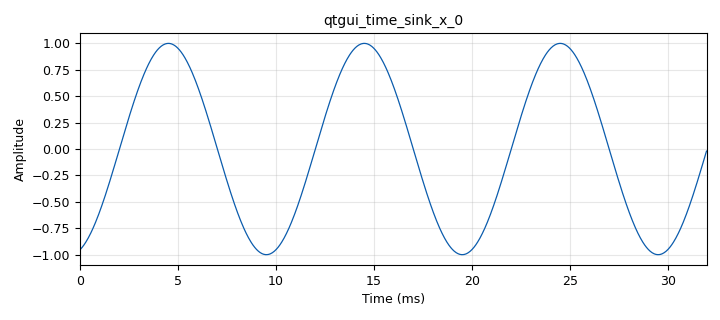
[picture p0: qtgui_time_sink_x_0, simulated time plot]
<?xml version='1.0' encoding='utf-8'?>
<?grc format='1' created='3.7.9'?>
<flow_graph>
<block>
<key>options</key>
<param><key>id</key><value>if_else</value></param>
<param><key>category</key><value>Custom</value></param>
<param><key>generate_options</key><value>qt_gui</value></param>
</block>
<block>
<key>variable_qtgui_entry</key>
<param><key>id</key><value>Ampl</value></param>
<param><key>value</key><value>1</value></param>
<param><key>type</key><value>real</value></param>
</block>
<block>
<key>variable_qtgui_entry</key>
<param><key>id</key><value>Freq</value></param>
<param><key>value</key><value>100</value></param>
<param><key>type</key><value>real</value></param>
</block>
<block>
<key>variable</key>
<param><key>id</key><value>samp_rate</value></param>
<param><key>value</key><value>32000</value></param>
</block>
<block>
<key>variable_function_probe</key>
<param><key>id</key><value>variable_function_probe_0</value></param>
<param><key>block_id</key><value>probe</value></param>
<param><key>function_name</key><value>level</value></param>
<param><key>poll_rate</key><value>10</value></param>
<param><key>value</key><value>0</value></param>
</block>
<block>
<key>analog_sig_source_x</key>
<param><key>id</key><value>analog_sig_source_x_0</value></param>
<param><key>amp</key><value>1</value></param>
<param><key>freq</key><value>0.1</value></param>
<param><key>offset</key><value>0</value></param>
<param><key>type</key><value>float</value></param>
<param><key>samp_rate</key><value>samp_rate</value></param>
<param><key>waveform</key><value>analog.GR_SQR_WAVE</value></param>
</block>
<block>
<key>analog_sig_source_x</key>
<param><key>id</key><value>analog_sig_source_x_1</value></param>
<param><key>amp</key><value>Ampl</value></param>
<param><key>freq</key><value>Freq</value></param>
<param><key>offset</key><value>0</value></param>
<param><key>type</key><value>float</value></param>
<param><key>samp_rate</key><value>samp_rate</value></param>
<param><key>waveform</key><value>analog.GR_SIN_WAVE</value></param>
</block>
<block>
<key>blocks_throttle</key>
<param><key>id</key><value>blocks_throttle_0</value></param>
<param><key>samples_per_second</key><value>samp_rate</value></param>
<param><key>type</key><value>float</value></param>
</block>
<block>
<key>blocks_probe_signal_x</key>
<param><key>id</key><value>probe</value></param>
<param><key>type</key><value>float</value></param>
</block>
<block>
<key>qtgui_time_sink_x</key>
<param><key>id</key><value>qtgui_time_sink_x_0</value></param>
<param><key>autoscale</key><value>True</value></param>
<param><key>grid</key><value>True</value></param>
<param><key>color1</key><value>"blue"</value></param>
<param><key>label1</key><value></value></param>
<param><key>size</key><value>1024</value></param>
<param><key>srate</key><value>samp_rate</value></param>
<param><key>type</key><value>float</value></param>
</block>
<connection><source_block_id>analog_sig_source_x_0</source_block_id><sink_block_id>blocks_throttle_0</sink_block_id><source_key>0</source_key><sink_key>0</sink_key></connection>
<connection><source_block_id>analog_sig_source_x_1</source_block_id><sink_block_id>qtgui_time_sink_x_0</sink_block_id><source_key>0</source_key><sink_key>0</sink_key></connection>
<connection><source_block_id>blocks_throttle_0</source_block_id><sink_block_id>probe</sink_block_id><source_key>0</source_key><sink_key>0</sink_key></connection>
</flow_graph>
